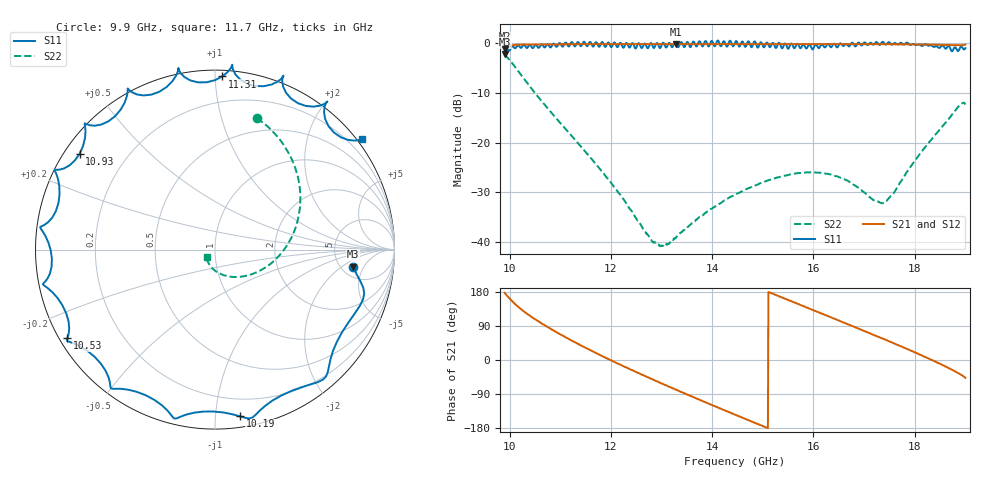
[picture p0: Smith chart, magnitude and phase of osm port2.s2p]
! RsaToolbox (C) 2015 Rohde & Schwarz America
! Number of points: 911
! Number of ports: 2
! Balanced ports?: No
# Hz S RI R 50
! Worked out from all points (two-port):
!   911 points, 9.9 GHz to 19 GHz, reference 50 ohm
!   highest |S21| = -0.12 dB at 13.29 GHz (marker M1); lowest = -1.0 dB at 9.9 GHz (marker M2)
!   |S21| within 3 dB of the highest: start of sweep to end of sweep
!   lowest |S11| = -2.2 dB at 9.9 GHz (marker M3), VSWR 7.87, Z = 320 - j151 ohm
!   |S11| at or under -10 dB: nowhere
!   |S22| runs from -40.9 to -2.3 dB; largest |S21 - S12| = 0
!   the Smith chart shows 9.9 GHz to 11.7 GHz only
!   S11 on the Smith chart (normalised r, x): 9.9 GHz: 6.41, -3.02; 10.19 GHz: 0.07, -1.16; 10.53 GHz: 0.02, -0.28; 10.93 GHz: 0.04, +0.32; 11.31 GHz: 0.04, +1.04; 11.7 GHz: -0.13, +2.98
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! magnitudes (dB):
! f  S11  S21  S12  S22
! 9.9 GHz  -2.2  -1.0  -1.0  -2.3
! 10.19 GHz  -0.5  -0.2  -0.2  -5.9
! 10.53 GHz  -0.4  -0.2  -0.2  -10.4
! 10.93 GHz  -0.7  -0.2  -0.2  -15.2
! 11.31 GHz  -0.3  -0.1  -0.1  -19.7
! 11.42 GHz  -0.4  -0.1  -0.1  -21.0
! 11.7 GHz  0.2  -0.1  -0.1  -24.3
! 12.8 GHz  0.0  -0.1  -0.1  -39.7
! 12.94 GHz  -0.4  -0.1  -0.1  -40.6
! 13.11 GHz  -0.6  -0.1  -0.1  -40.5
! 13.29 GHz  0.0  -0.1  -0.1  -39.1
! 13.76 GHz  0.4  -0.1  -0.1  -35.0
! 14.45 GHz  0.2  -0.1  -0.1  -30.5
! 15.2 GHz  0.1  -0.1  -0.1  -27.3
! 15.97 GHz  -1.1  -0.1  -0.1  -26.0
! 16.64 GHz  -0.1  -0.1  -0.1  -27.6
! 17.23 GHz  0.2  -0.1  -0.1  -31.8
! 17.38 GHz  0.3  -0.2  -0.2  -32.2
! 17.49 GHz  0.3  -0.2  -0.2  -31.2
! 18.25 GHz  -0.4  -0.2  -0.2  -20.3
! 18.87 GHz  -1.4  -0.4  -0.4  -12.7
! 19 GHz  -1.0  -0.2  -0.2  -12.3
